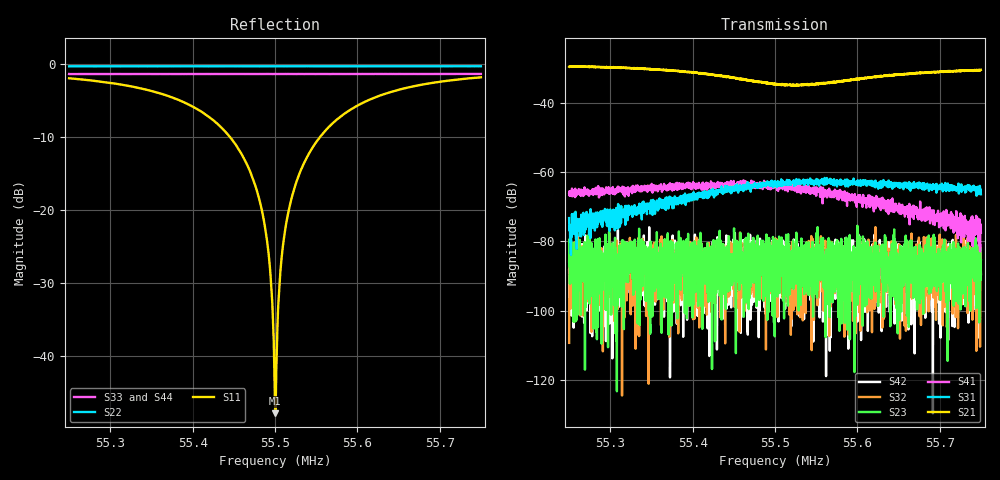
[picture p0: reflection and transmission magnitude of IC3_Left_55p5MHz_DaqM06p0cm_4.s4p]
#  HZ  S  DB  R  50.00
! Rohde & Schwarz Vector Network Analyzer
! Rohde-Schwarz,ZNB8-4Port,1311601044102961,2.82
! Created: UTC 2/13/2019, 9:29:13 AM
! freq[Hz]  db:S11  ang:S11  db:S12  ang:S12  db:S13  ang:S13  db:S14  ang:S14
!  db:S21  ang:S21  db:S22  ang:S22  db:S23  ang:S23  db:S24  ang:S24
!  db:S31  ang:S31  db:S32  ang:S32  db:S33  ang:S33  db:S34  ang:S34
!  db:S41  ang:S41  db:S42  ang:S42  db:S43  ang:S43  db:S44  ang:S44
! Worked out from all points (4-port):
!   2001 points, 55.25 MHz to 55.75 MHz, reference 50 ohm
!   strongest paths, dB at 55.25 MHz, 55.375 MHz, 55.5 MHz, 55.625 MHz, 55.75 MHz:
!     S21: -29.6, -30.6, -34.7, -32.3, -30.4
!     S31: -73.3, -68.3, -63.3, -63.8, -66.4
!     S41: -66.0, -64.2, -64.2, -69.6, -77.5
!     S23: -85.8, -88.5, -84.4, -81.3, -85.5
!     S32: -109.3, -82.2, -97.7, -83.8, -89.6
!     S42: -88.4, -87.0, -84.0, -98.8, -89.4
!   lowest |S11| = -47.8 dB at 55.5003 MHz (marker M1), VSWR 1.01, Z = 49.7 - j0.293 ohm
!   |S11| at or under -10 dB: 55.44522 MHz to 55.55471 MHz (109.5 kHz wide, 0.197 % of centre)
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5.525e7  -1.97 -138.4  -29.32 68.5  -80.33 17.4  -65.04 -159.1
         -29.56 69.4  -0.33 94.1  -85.80 -13.2  -86.66 170.0
         -73.28 11.0  -109.32 35.1  -1.39 34.9  -85.71 -135.1
         -65.96 -158.1  -88.38 23.5  -88.79 50.5  -1.38 28.5
5.54505e7  -10.77 170.5  -32.80 54.3  -64.51 -33.6  -64.10 161.6
           -32.73 54.5  -0.32 90.5  -82.24 13.1  -89.18 -147.8
           -65.44 -36.5  -90.47 -142.7  -1.38 32.5  -89.76 -23.8
           -63.66 164.6  -79.92 -14.2  -102.96 -104.5  -1.38 26.0
5.548625e7  -21.27 157.3  -34.15 58.6  -63.14 -49.7  -63.99 148.1
            -34.03 59.2  -0.33 89.9  -87.46 -117.2  -93.22 46.7
            -63.63 -52.0  -97.21 -36.3  -1.38 32.1  -83.03 24.6
            -63.56 145.6  -91.26 -3.7  -85.93 21.9  -1.37 25.6
5.550025e7  -47.82 -133.7  -34.62 62.0  -62.76 -49.9  -64.10 145.8
            -34.60 62.3  -0.33 89.5  -79.86 124.7  -89.64 99.0
            -62.76 -52.2  -81.00 112.5  -1.38 31.9  -91.54 128.8
            -64.32 146.8  -88.40 37.5  -81.67 163.1  -1.38 25.4
5.55145e7  -21.27 -39.6  -34.82 66.1  -64.83 -65.2  -64.36 133.9
           -34.70 67.0  -0.32 89.3  -95.75 -142.4  -87.28 -24.3
           -62.25 -58.4  -81.81 -155.2  -1.38 31.7  -84.56 -158.8
           -65.07 141.5  -85.61 -138.2  -100.12 63.3  -1.38 25.2
5.555e7  -10.71 -52.7  -34.56 76.7  -62.65 -74.7  -64.74 118.8
         -34.62 76.9  -0.32 88.7  -77.59 118.6  -86.80 24.1
         -63.28 -67.2  -90.76 11.9  -1.38 31.3  -84.59 156.0
         -66.84 121.9  -91.23 -135.9  -90.26 72.6  -1.37 24.8
5.575e7  -1.84 -105.8  -30.49 77.5  -65.35 -119.8  -81.16 101.3
         -30.44 77.7  -0.32 85.1  -85.50 122.8  -88.73 -100.6
         -66.39 -119.4  -89.64 -89.9  -1.37 28.9  -95.60 89.5
         -77.50 106.4  -89.37 79.6  -86.43 122.4  -1.37 22.3
